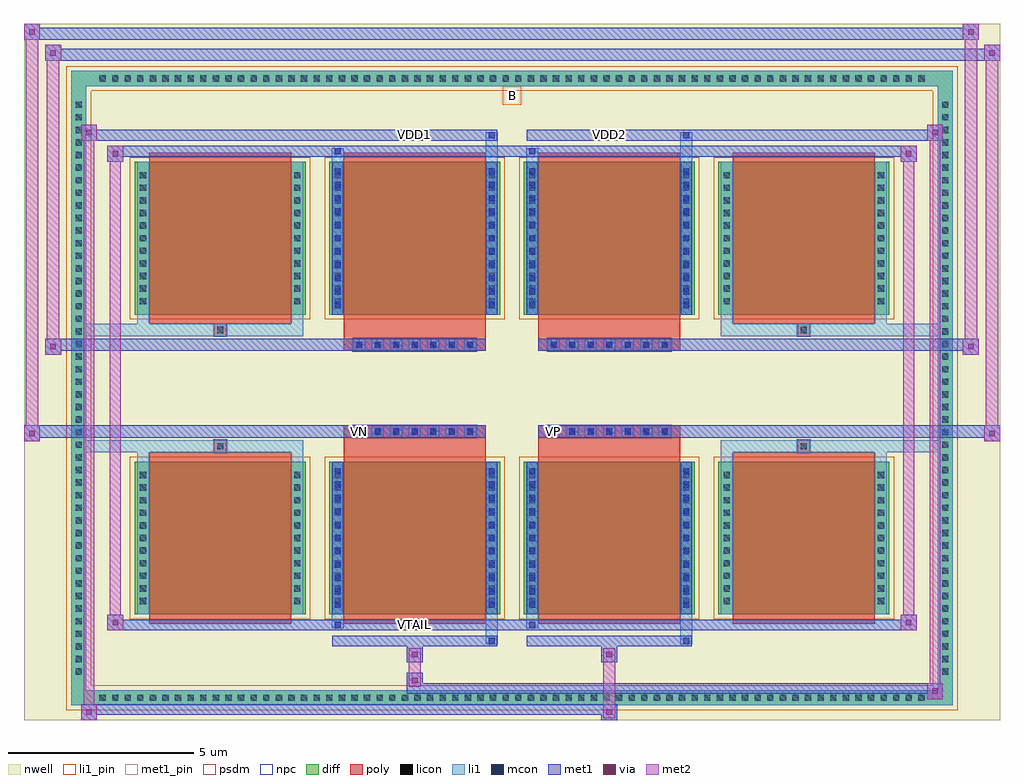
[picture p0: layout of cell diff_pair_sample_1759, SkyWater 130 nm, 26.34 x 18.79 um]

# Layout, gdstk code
import gdstk
lib = gdstk.Library(unit=1e-6, precision=5e-09)
def R(c, l, rs):  # rectangles x0, y0, x1, y1
    for r in rs: c.add(gdstk.rectangle(r[:2], r[2:], *l))
def A(c, l, x, y, w, h, nx, ny, dx, dy):  # array of equal rectangles
    R(c, l, [(x+i*dx, y+j*dy, x+i*dx+w, y+j*dy+h) for i in range(nx) for j in range(ny)])
def P(c, l, *ps):  # polygons
    for p in ps: c.add(gdstk.Polygon(p, *l))
nwell = (64, 20)
diff = (65, 20)
poly = (66, 20)
licon = (66, 44)
li1_pin = (67, 16)
li1 = (67, 20)
mcon = (67, 44)
met1_pin = (68, 16)
met1 = (68, 20)
via = (68, 44)
met2 = (69, 20)
psdm = (94, 20)
npc = (95, 20)

diff_pair_sample_1759 = lib.new_cell('diff_pair_sample_1759')
R(diff_pair_sample_1759, nwell, [(-13.17,-8.96,13.17,9.83), (-10.49,-7.15,-0.01,-0.805), (0.01,-7.15,10.49,-0.805), (-10.49,0.805,-0.01,7.15), (0.01,0.805,10.49,7.15)])
A(diff_pair_sample_1759, diff, -11.255, -8.56, 0.41, 0.41, 66, 2, 0.34, 16.71)
A(diff_pair_sample_1759, diff, -11.9, -7.855, 0.41, 0.41, 1, 46, 0, 0.34)
A(diff_pair_sample_1759, diff, 11.49, -7.855, 0.41, 0.41, 1, 46, 0, 0.34)
A(diff_pair_sample_1759, diff, -10.18, -6.105, 4.61, 4.12, 4, 2, 5.25, 8.09)
R(diff_pair_sample_1759, diff, [(-11.255,-8.56,11.255,-8.15), (-11.9,-7.855,-11.49,7.855), (11.49,-7.855,11.9,7.855), (-11.255,8.15,11.255,8.56)])
P(diff_pair_sample_1759, diff, [(11.9,8.56),(-11.9,8.56),(-11.9,-8.15),(-11.49,-8.15),(-11.49,8.15),(11.49,8.15),(11.49,-8.15),(-11.49,-8.15),(-11.9,-8.15),(-11.9,-8.56),(11.9,-8.56)])
A(diff_pair_sample_1759, poly, -9.79, -6.355, 3.83, 4.62, 4, 2, 5.25, 8.09)
A(diff_pair_sample_1759, poly, -4.29, -1.335, 0.33, 0.33, 7, 2, 0.5, 2.34)
A(diff_pair_sample_1759, poly, 0.96, -1.335, 0.33, 0.33, 7, 2, 0.5, 2.34)
R(diff_pair_sample_1759, poly, [(-8.04,-1.735,-7.71,-1.405), (-8.04,-1.735,-7.71,-1.405), (-4.54,-1.735,-0.71,-1.335), (0.71,-1.735,4.54,-1.335), (7.71,-1.735,8.04,-1.405), (7.71,-1.735,8.04,-1.405), (-4.54,-1.335,-0.71,-1.005), (0.71,-1.335,4.54,-1.005), (-4.54,1.005,-0.71,1.335), (0.71,1.005,4.54,1.335), (-4.54,1.335,-0.71,1.735), (0.71,1.335,4.54,1.735), (-8.04,1.405,-7.71,1.735), (-8.04,1.405,-7.71,1.735), (7.71,1.405,8.04,1.735), (7.71,1.405,8.04,1.735)])
A(diff_pair_sample_1759, licon, -11.135, -8.44, 0.17, 0.17, 66, 2, 0.34, 16.71)
A(diff_pair_sample_1759, licon, -11.78, -7.735, 0.17, 0.17, 1, 46, 0, 0.34)
A(diff_pair_sample_1759, licon, 11.61, -7.735, 0.17, 0.17, 1, 46, 0, 0.34)
A(diff_pair_sample_1759, licon, -10.04, -5.83, 0.17, 0.17, 1, 11, 0, 0.34)
A(diff_pair_sample_1759, licon, -5.88, -5.83, 0.17, 0.17, 1, 11, 0, 0.34)
A(diff_pair_sample_1759, licon, -4.79, -5.83, 0.17, 0.17, 1, 11, 0, 0.34)
A(diff_pair_sample_1759, licon, -0.63, -5.83, 0.17, 0.17, 1, 11, 0, 0.34)
A(diff_pair_sample_1759, licon, 0.46, -5.83, 0.17, 0.17, 1, 11, 0, 0.34)
A(diff_pair_sample_1759, licon, 4.62, -5.83, 0.17, 0.17, 1, 11, 0, 0.34)
A(diff_pair_sample_1759, licon, 5.71, -5.83, 0.17, 0.17, 1, 11, 0, 0.34)
A(diff_pair_sample_1759, licon, 9.87, -5.83, 0.17, 0.17, 1, 11, 0, 0.34)
A(diff_pair_sample_1759, licon, -4.21, -1.255, 0.17, 0.17, 7, 2, 0.5, 2.34)
A(diff_pair_sample_1759, licon, 1.04, -1.255, 0.17, 0.17, 7, 2, 0.5, 2.34)
A(diff_pair_sample_1759, licon, -10.04, 2.26, 0.17, 0.17, 1, 11, 0, 0.34)
A(diff_pair_sample_1759, licon, -5.88, 2.26, 0.17, 0.17, 1, 11, 0, 0.34)
A(diff_pair_sample_1759, licon, -4.79, 2.26, 0.17, 0.17, 1, 11, 0, 0.34)
A(diff_pair_sample_1759, licon, -0.63, 2.26, 0.17, 0.17, 1, 11, 0, 0.34)
A(diff_pair_sample_1759, licon, 0.46, 2.26, 0.17, 0.17, 1, 11, 0, 0.34)
A(diff_pair_sample_1759, licon, 4.62, 2.26, 0.17, 0.17, 1, 11, 0, 0.34)
A(diff_pair_sample_1759, licon, 5.71, 2.26, 0.17, 0.17, 1, 11, 0, 0.34)
A(diff_pair_sample_1759, licon, 9.87, 2.26, 0.17, 0.17, 1, 11, 0, 0.34)
R(diff_pair_sample_1759, licon, [(-7.96,-1.655,-7.79,-1.485), (7.79,-1.655,7.96,-1.485), (-7.96,1.485,-7.79,1.655), (7.79,1.485,7.96,1.655)])
R(diff_pair_sample_1759, li1_pin, [(-0.25,7.65,0.25,8.15)])
A(diff_pair_sample_1759, li1, -11.215, -8.52, 0.33, 0.33, 66, 2, 0.34, 16.71)
A(diff_pair_sample_1759, li1, -11.86, -7.815, 0.33, 0.33, 1, 46, 0, 0.34)
A(diff_pair_sample_1759, li1, 11.53, -7.815, 0.33, 0.33, 1, 46, 0, 0.34)
A(diff_pair_sample_1759, li1, -4.79, -5.93, 0.17, 0.17, 1, 11, 0, 0.36)
A(diff_pair_sample_1759, li1, -0.63, -5.93, 0.17, 0.17, 1, 11, 0, 0.36)
A(diff_pair_sample_1759, li1, 0.46, -5.93, 0.17, 0.17, 1, 11, 0, 0.36)
A(diff_pair_sample_1759, li1, 4.62, -5.93, 0.17, 0.17, 1, 11, 0, 0.36)
A(diff_pair_sample_1759, li1, -10.12, -5.91, 0.33, 0.33, 1, 11, 0, 0.34)
A(diff_pair_sample_1759, li1, -5.96, -5.91, 0.33, 0.33, 1, 11, 0, 0.34)
A(diff_pair_sample_1759, li1, -4.87, -5.91, 0.33, 0.33, 1, 11, 0, 0.34)
A(diff_pair_sample_1759, li1, -0.71, -5.91, 0.33, 0.33, 1, 11, 0, 0.34)
A(diff_pair_sample_1759, li1, 0.38, -5.91, 0.33, 0.33, 1, 11, 0, 0.34)
A(diff_pair_sample_1759, li1, 4.54, -5.91, 0.33, 0.33, 1, 11, 0, 0.34)
A(diff_pair_sample_1759, li1, 5.63, -5.91, 0.33, 0.33, 1, 11, 0, 0.34)
A(diff_pair_sample_1759, li1, 9.79, -5.91, 0.33, 0.33, 1, 11, 0, 0.34)
A(diff_pair_sample_1759, li1, -4.29, -1.335, 0.33, 0.33, 7, 2, 0.5, 2.34)
A(diff_pair_sample_1759, li1, 0.96, -1.335, 0.33, 0.33, 7, 2, 0.5, 2.34)
A(diff_pair_sample_1759, li1, -4.79, 2.16, 0.17, 0.17, 1, 11, 0, 0.36)
A(diff_pair_sample_1759, li1, -0.63, 2.16, 0.17, 0.17, 1, 11, 0, 0.36)
A(diff_pair_sample_1759, li1, 0.46, 2.16, 0.17, 0.17, 1, 11, 0, 0.36)
A(diff_pair_sample_1759, li1, 4.62, 2.16, 0.17, 0.17, 1, 11, 0, 0.36)
A(diff_pair_sample_1759, li1, -10.12, 2.18, 0.33, 0.33, 1, 11, 0, 0.34)
A(diff_pair_sample_1759, li1, -5.96, 2.18, 0.33, 0.33, 1, 11, 0, 0.34)
A(diff_pair_sample_1759, li1, -4.87, 2.18, 0.33, 0.33, 1, 11, 0, 0.34)
A(diff_pair_sample_1759, li1, -0.71, 2.18, 0.33, 0.33, 1, 11, 0, 0.34)
A(diff_pair_sample_1759, li1, 0.38, 2.18, 0.33, 0.33, 1, 11, 0, 0.34)
A(diff_pair_sample_1759, li1, 4.54, 2.18, 0.33, 0.33, 1, 11, 0, 0.34)
A(diff_pair_sample_1759, li1, 5.63, 2.18, 0.33, 0.33, 1, 11, 0, 0.34)
A(diff_pair_sample_1759, li1, 9.79, 2.18, 0.33, 0.33, 1, 11, 0, 0.34)
R(diff_pair_sample_1759, li1, [(-11.9,-8.56,-11.49,-8.15), (-11.9,-8.56,-11.49,-8.15), (-11.49,-8.56,11.49,-8.15), (11.49,-8.56,11.9,-8.15), (11.49,-8.56,11.9,-8.15), (-11.9,-8.15,-11.49,8.15), (11.49,-8.15,11.9,8.15), (-0.71,-6.91,-0.38,-6.105), (-0.63,-6.91,-0.46,-6.74), (4.54,-6.91,4.87,-6.105), (4.62,-6.91,4.79,-6.74), (-4.87,-6.48,-4.54,-6.105), (-4.79,-6.48,-4.62,-6.31), (0.38,-6.48,0.71,-6.105), (0.46,-6.48,0.63,-6.31), (-10.12,-6.105,-9.79,-1.985), (-5.96,-6.105,-5.63,-1.985), (-4.87,-6.105,-4.54,-1.985), (-0.71,-6.105,-0.38,-1.985), (0.38,-6.105,0.71,-1.985), (4.54,-6.105,4.87,-1.985), (5.63,-6.105,5.96,-1.985), (9.79,-6.105,10.12,-1.985), (-4.79,-5.93,-4.62,-2.16), (-0.63,-5.93,-0.46,-2.16), (0.46,-5.93,0.63,-2.16), (4.62,-5.93,4.79,-2.16), (-10.12,-1.985,-9.79,-1.405), (-5.96,-1.985,-5.63,-1.405), (5.63,-1.985,5.96,-1.405), (9.79,-1.985,10.12,-1.405), (-11.9,-1.735,-8.04,-1.405), (-10.12,-1.735,-8.04,-1.405), (-8.04,-1.735,-7.71,-1.405), (-7.71,-1.735,-5.63,-1.405), (5.63,-1.735,7.71,-1.405), (7.71,-1.735,8.04,-1.405), (7.71,-1.735,11.9,-1.405), (8.04,-1.735,10.12,-1.405), (-11.9,1.405,-8.04,1.735), (-10.12,1.405,-8.04,1.735), (-10.12,1.405,-9.79,1.985), (-8.04,1.405,-7.71,1.735), (-7.71,1.405,-5.63,1.735), (-5.96,1.405,-5.63,1.985), (5.63,1.405,7.71,1.735), (5.63,1.405,5.96,1.985), (7.71,1.405,8.04,1.735), (7.71,1.405,11.9,1.735), (8.04,1.405,10.12,1.735), (9.79,1.405,10.12,1.985), (-10.12,1.985,-9.79,6.105), (-5.96,1.985,-5.63,6.105), (-4.87,1.985,-4.54,6.105), (-0.71,1.985,-0.38,6.105), (0.38,1.985,0.71,6.105), (4.54,1.985,4.87,6.105), (5.63,1.985,5.96,6.105), (9.79,1.985,10.12,6.105), (-4.79,2.16,-4.62,5.93), (-0.63,2.16,-0.46,5.93), (0.46,2.16,0.63,5.93), (4.62,2.16,4.79,5.93), (-4.87,6.105,-4.54,6.48), (-0.71,6.105,-0.38,6.91), (0.38,6.105,0.71,6.48), (4.54,6.105,4.87,6.91), (-4.79,6.31,-4.62,6.48), (0.46,6.31,0.63,6.48), (-0.63,6.74,-0.46,6.91), (4.62,6.74,4.79,6.91), (-11.9,8.15,-11.49,8.56), (-11.9,8.15,-11.49,8.56), (-11.49,8.15,11.49,8.56), (11.49,8.15,11.9,8.56), (11.49,8.15,11.9,8.56)])
A(diff_pair_sample_1759, mcon, -4.79, -5.93, 0.17, 0.17, 1, 11, 0, 0.36)
A(diff_pair_sample_1759, mcon, -0.63, -5.93, 0.17, 0.17, 1, 11, 0, 0.36)
A(diff_pair_sample_1759, mcon, 0.46, -5.93, 0.17, 0.17, 1, 11, 0, 0.36)
A(diff_pair_sample_1759, mcon, 4.62, -5.93, 0.17, 0.17, 1, 11, 0, 0.36)
A(diff_pair_sample_1759, mcon, -4.21, -1.255, 0.17, 0.17, 7, 2, 0.5, 2.34)
A(diff_pair_sample_1759, mcon, 1.04, -1.255, 0.17, 0.17, 7, 2, 0.5, 2.34)
A(diff_pair_sample_1759, mcon, -4.79, 2.16, 0.17, 0.17, 1, 11, 0, 0.36)
A(diff_pair_sample_1759, mcon, -0.63, 2.16, 0.17, 0.17, 1, 11, 0, 0.36)
A(diff_pair_sample_1759, mcon, 0.46, 2.16, 0.17, 0.17, 1, 11, 0, 0.36)
A(diff_pair_sample_1759, mcon, 4.62, 2.16, 0.17, 0.17, 1, 11, 0, 0.36)
R(diff_pair_sample_1759, mcon, [(-0.63,-6.91,-0.46,-6.74), (4.62,-6.91,4.79,-6.74), (-4.79,-6.48,-4.62,-6.31), (0.46,-6.48,0.63,-6.31), (-4.79,6.31,-4.62,6.48), (0.46,6.31,0.63,6.48), (-0.63,6.74,-0.46,6.91), (4.62,6.74,4.79,6.91)])
R(diff_pair_sample_1759, met1_pin, [(-2.76,-6.52,-2.49,-6.25), (-4.26,-1.295,-3.99,-1.025), (0.99,-1.295,1.26,-1.025), (-2.76,6.7,-2.49,6.97), (2.49,6.7,2.76,6.97)])
A(diff_pair_sample_1759, met1, -4.85, -5.99, 0.29, 0.29, 1, 11, 0, 0.36)
A(diff_pair_sample_1759, met1, -0.69, -5.99, 0.29, 0.29, 1, 11, 0, 0.36)
A(diff_pair_sample_1759, met1, 0.4, -5.99, 0.29, 0.29, 1, 11, 0, 0.36)
A(diff_pair_sample_1759, met1, 4.56, -5.99, 0.29, 0.29, 1, 11, 0, 0.36)
A(diff_pair_sample_1759, met1, -4.27, -1.315, 0.29, 0.29, 7, 2, 0.5, 2.34)
A(diff_pair_sample_1759, met1, 0.98, -1.315, 0.29, 0.29, 7, 2, 0.5, 2.34)
A(diff_pair_sample_1759, met1, -4.85, 2.1, 0.29, 0.29, 1, 11, 0, 0.36)
A(diff_pair_sample_1759, met1, -0.69, 2.1, 0.29, 0.29, 1, 11, 0, 0.36)
A(diff_pair_sample_1759, met1, 0.4, 2.1, 0.29, 0.29, 1, 11, 0, 0.36)
A(diff_pair_sample_1759, met1, 4.56, 2.1, 0.29, 0.29, 1, 11, 0, 0.36)
R(diff_pair_sample_1759, met1, [(-11.63,-8.96,-11.2,-8.53), (2.41,-8.96,2.84,-8.53), (-11.63,-8.82,2.84,-8.53), (11.2,-8.39,11.63,-7.96), (-2.84,-8.25,11.63,-7.96), (-2.84,-8.11,-2.41,-7.68), (-2.84,-7.4,-2.41,-6.97), (2.41,-7.4,2.84,-6.97), (-4.85,-6.97,-0.4,-6.68), (-0.69,-6.97,-0.4,-6.68), (0.4,-6.97,4.85,-6.68), (4.56,-6.97,4.85,-6.68), (-10.92,-6.54,-10.49,-6.11), (-10.92,-6.54,-4.85,-6.25), (-4.85,-6.54,-4.56,-6.25), (-4.85,-6.54,-0.4,-6.25), (-0.4,-6.54,0.4,-6.25), (0.4,-6.54,0.69,-6.25), (0.4,-6.54,4.85,-6.25), (4.85,-6.54,10.92,-6.25), (10.49,-6.54,10.92,-6.11), (-4.85,-6.105,-4.56,-1.985), (-0.69,-6.105,-0.4,-1.985), (0.4,-6.105,0.69,-1.985), (4.56,-6.105,4.85,-1.985), (-13.17,-1.435,-12.74,-1.005), (12.74,-1.435,13.17,-1.005), (-13.17,-1.335,-0.71,-1.005), (-4.54,-1.335,-0.71,-1.005), (0.71,-1.335,4.54,-1.005), (0.71,-1.335,13.17,-1.005), (-12.6,0.905,-12.17,1.335), (12.17,0.905,12.6,1.335), (-12.6,1.005,-4.54,1.335), (-4.54,1.005,-0.71,1.335), (0.71,1.005,4.54,1.335), (4.54,1.005,12.6,1.335), (-4.85,1.985,-4.56,6.105), (-0.69,1.985,-0.4,6.105), (0.4,1.985,0.69,6.105), (4.56,1.985,4.85,6.105), (-10.92,6.11,-10.49,6.54), (10.49,6.11,10.92,6.54), (-10.92,6.25,-4.85,6.54), (-4.85,6.25,-4.56,6.54), (-4.85,6.25,-0.4,6.54), (-0.4,6.25,0.4,6.54), (0.4,6.25,0.69,6.54), (0.4,6.25,4.85,6.54), (4.85,6.25,10.92,6.54), (-11.63,6.68,-11.2,7.11), (-11.63,6.68,-4.85,6.97), (-4.85,6.68,-0.4,6.97), (-0.69,6.68,-0.4,6.97), (0.4,6.68,4.85,6.97), (4.56,6.68,4.85,6.97), (4.85,6.68,11.63,6.97), (11.2,6.68,11.63,7.11), (-12.6,8.83,-12.17,9.26), (-12.6,8.83,-10.49,9.16), (-10.49,8.83,10.49,9.16), (10.49,8.83,13.17,9.16), (12.74,8.83,13.17,9.26), (-13.17,9.4,-12.74,9.83), (-13.17,9.4,-10.49,9.73), (-10.49,9.4,10.49,9.73), (10.49,9.4,12.6,9.73), (12.17,9.4,12.6,9.83)])
R(diff_pair_sample_1759, via, [(-11.49,-8.82,-11.34,-8.67), (2.55,-8.82,2.7,-8.67), (11.34,-8.25,11.49,-8.1), (-2.7,-7.97,-2.55,-7.82), (-2.7,-7.26,-2.55,-7.11), (2.55,-7.26,2.7,-7.11), (-10.78,-6.4,-10.63,-6.25), (10.63,-6.4,10.78,-6.25), (-13.03,-1.295,-12.88,-1.145), (12.88,-1.295,13.03,-1.145), (-12.46,1.045,-12.31,1.195), (12.31,1.045,12.46,1.195), (-10.78,6.25,-10.63,6.4), (10.63,6.25,10.78,6.4), (-11.49,6.82,-11.34,6.97), (11.34,6.82,11.49,6.97), (-12.46,8.97,-12.31,9.12), (12.88,8.97,13.03,9.12), (-13.03,9.54,-12.88,9.69), (12.31,9.54,12.46,9.69)])
R(diff_pair_sample_1759, met2, [(-11.63,-8.96,-11.2,-8.53), (-11.56,-8.96,-11.27,7.11), (-11.27,-8.96,-11.2,-8.53), (-11.58,-8.91,-11.25,-8.58), (2.46,-8.91,2.79,-8.58), (2.46,-8.58,2.79,-7.35), (11.2,-8.39,11.63,-7.96), (11.27,-8.39,11.56,7.11), (11.56,-8.39,11.63,-7.96), (11.25,-8.34,11.58,-8.01), (-2.79,-8.06,-2.46,-7.73), (-2.79,-7.73,-2.46,-7.35), (-2.79,-7.35,-2.46,-7.02), (2.46,-7.35,2.79,-7.02), (-10.92,-6.54,-10.49,-6.11), (-10.85,-6.54,-10.56,6.54), (-10.56,-6.54,-10.49,-6.11), (10.49,-6.54,10.92,-6.11), (10.56,-6.54,10.85,6.54), (10.85,-6.54,10.92,-6.11), (-10.87,-6.49,-10.54,-6.16), (10.54,-6.49,10.87,-6.16), (-13.17,-1.435,-12.74,-1.005), (-13.12,-1.435,-12.79,9.83), (-12.79,-1.435,-12.74,-1.005), (12.74,-1.435,13.17,-1.005), (12.79,-1.435,13.12,9.26), (13.12,-1.435,13.17,-1.005), (-13.12,-1.385,-12.79,-1.055), (12.79,-1.385,13.12,-1.055), (-12.6,0.905,-12.17,1.335), (-12.55,0.905,-12.22,9.26), (-12.22,0.905,-12.17,1.335), (12.17,0.905,12.6,1.335), (12.22,0.905,12.55,9.83), (12.55,0.905,12.6,1.335), (-12.55,0.955,-12.22,1.285), (12.22,0.955,12.55,1.285), (-10.92,6.11,-10.49,6.54), (-10.56,6.11,-10.49,6.54), (10.49,6.11,10.92,6.54), (10.85,6.11,10.92,6.54), (-10.87,6.16,-10.54,6.49), (10.54,6.16,10.87,6.49), (-11.63,6.68,-11.2,7.11), (-11.27,6.68,-11.2,7.11), (11.2,6.68,11.63,7.11), (11.56,6.68,11.63,7.11), (-11.58,6.73,-11.25,7.06), (11.25,6.73,11.58,7.06), (-12.6,8.83,-12.17,9.26), (-12.22,8.83,-12.17,9.26), (12.74,8.83,13.17,9.26), (13.12,8.83,13.17,9.26), (-12.55,8.88,-12.22,9.21), (12.79,8.88,13.12,9.21), (-13.17,9.4,-12.74,9.83), (-12.79,9.4,-12.74,9.83), (12.17,9.4,12.6,9.83), (12.55,9.4,12.6,9.83), (-13.12,9.45,-12.79,9.78), (12.22,9.45,12.55,9.78)])
A(diff_pair_sample_1759, psdm, -10.31, -6.235, 4.87, 4.38, 4, 2, 5.25, 8.09)
P(diff_pair_sample_1759, psdm, [(12.03,8.69),(-12.03,8.69),(-12.03,-8.02),(-11.36,-8.02),(-11.36,8.02),(11.36,8.02),(11.36,-8.02),(-11.36,-8.02),(-12.03,-8.02),(-12.03,-8.69),(12.03,-8.69)])
A(diff_pair_sample_1759, npc, -4.31, -1.355, 0.37, 0.37, 7, 2, 0.5, 2.34)
A(diff_pair_sample_1759, npc, 0.94, -1.355, 0.37, 0.37, 7, 2, 0.5, 2.34)
R(diff_pair_sample_1759, npc, [(-8.06,-1.755,-7.69,-1.385), (7.69,-1.755,8.06,-1.385), (-4.31,-1.355,-3.44,-0.985), (-4.31,-1.355,-3.44,-0.985), (-3.81,-1.355,-2.94,-0.985), (-3.81,-1.355,-2.94,-0.985), (-3.31,-1.355,-2.44,-0.985), (-3.31,-1.355,-2.44,-0.985), (-2.81,-1.355,-1.94,-0.985), (-2.81,-1.355,-1.94,-0.985), (-2.31,-1.355,-1.44,-0.985), (-2.31,-1.355,-1.44,-0.985), (-1.81,-1.355,-0.94,-0.985), (-1.81,-1.355,-0.94,-0.985), (0.94,-1.355,1.81,-0.985), (0.94,-1.355,1.81,-0.985), (1.44,-1.355,2.31,-0.985), (1.44,-1.355,2.31,-0.985), (1.94,-1.355,2.81,-0.985), (1.94,-1.355,2.81,-0.985), (2.44,-1.355,3.31,-0.985), (2.44,-1.355,3.31,-0.985), (2.94,-1.355,3.81,-0.985), (2.94,-1.355,3.81,-0.985), (3.44,-1.355,4.31,-0.985), (3.44,-1.355,4.31,-0.985), (-4.31,0.985,-3.44,1.355), (-4.31,0.985,-3.44,1.355), (-3.81,0.985,-2.94,1.355), (-3.81,0.985,-2.94,1.355), (-3.31,0.985,-2.44,1.355), (-3.31,0.985,-2.44,1.355), (-2.81,0.985,-1.94,1.355), (-2.81,0.985,-1.94,1.355), (-2.31,0.985,-1.44,1.355), (-2.31,0.985,-1.44,1.355), (-1.81,0.985,-0.94,1.355), (-1.81,0.985,-0.94,1.355), (0.94,0.985,1.81,1.355), (0.94,0.985,1.81,1.355), (1.44,0.985,2.31,1.355), (1.44,0.985,2.31,1.355), (1.94,0.985,2.81,1.355), (1.94,0.985,2.81,1.355), (2.44,0.985,3.31,1.355), (2.44,0.985,3.31,1.355), (2.94,0.985,3.81,1.355), (2.94,0.985,3.81,1.355), (3.44,0.985,4.31,1.355), (3.44,0.985,4.31,1.355), (-8.06,1.385,-7.69,1.755), (7.69,1.385,8.06,1.755)])
diff_pair_sample_1759.add(gdstk.Label('VTAIL', (-2.625,-6.385), layer=68, texttype=5))
diff_pair_sample_1759.add(gdstk.Label('VN', (-4.125,-1.16), layer=68, texttype=5))
diff_pair_sample_1759.add(gdstk.Label('VP', (1.125,-1.16), layer=68, texttype=5))
diff_pair_sample_1759.add(gdstk.Label('B', (0,7.9), layer=67, texttype=5))
diff_pair_sample_1759.add(gdstk.Label('VDD2', (2.625,6.835), layer=68, texttype=5))
diff_pair_sample_1759.add(gdstk.Label('VDD1', (-2.625,6.835), layer=68, texttype=5))

lib.write_gds('diff_pair_sample_1759.gds')
